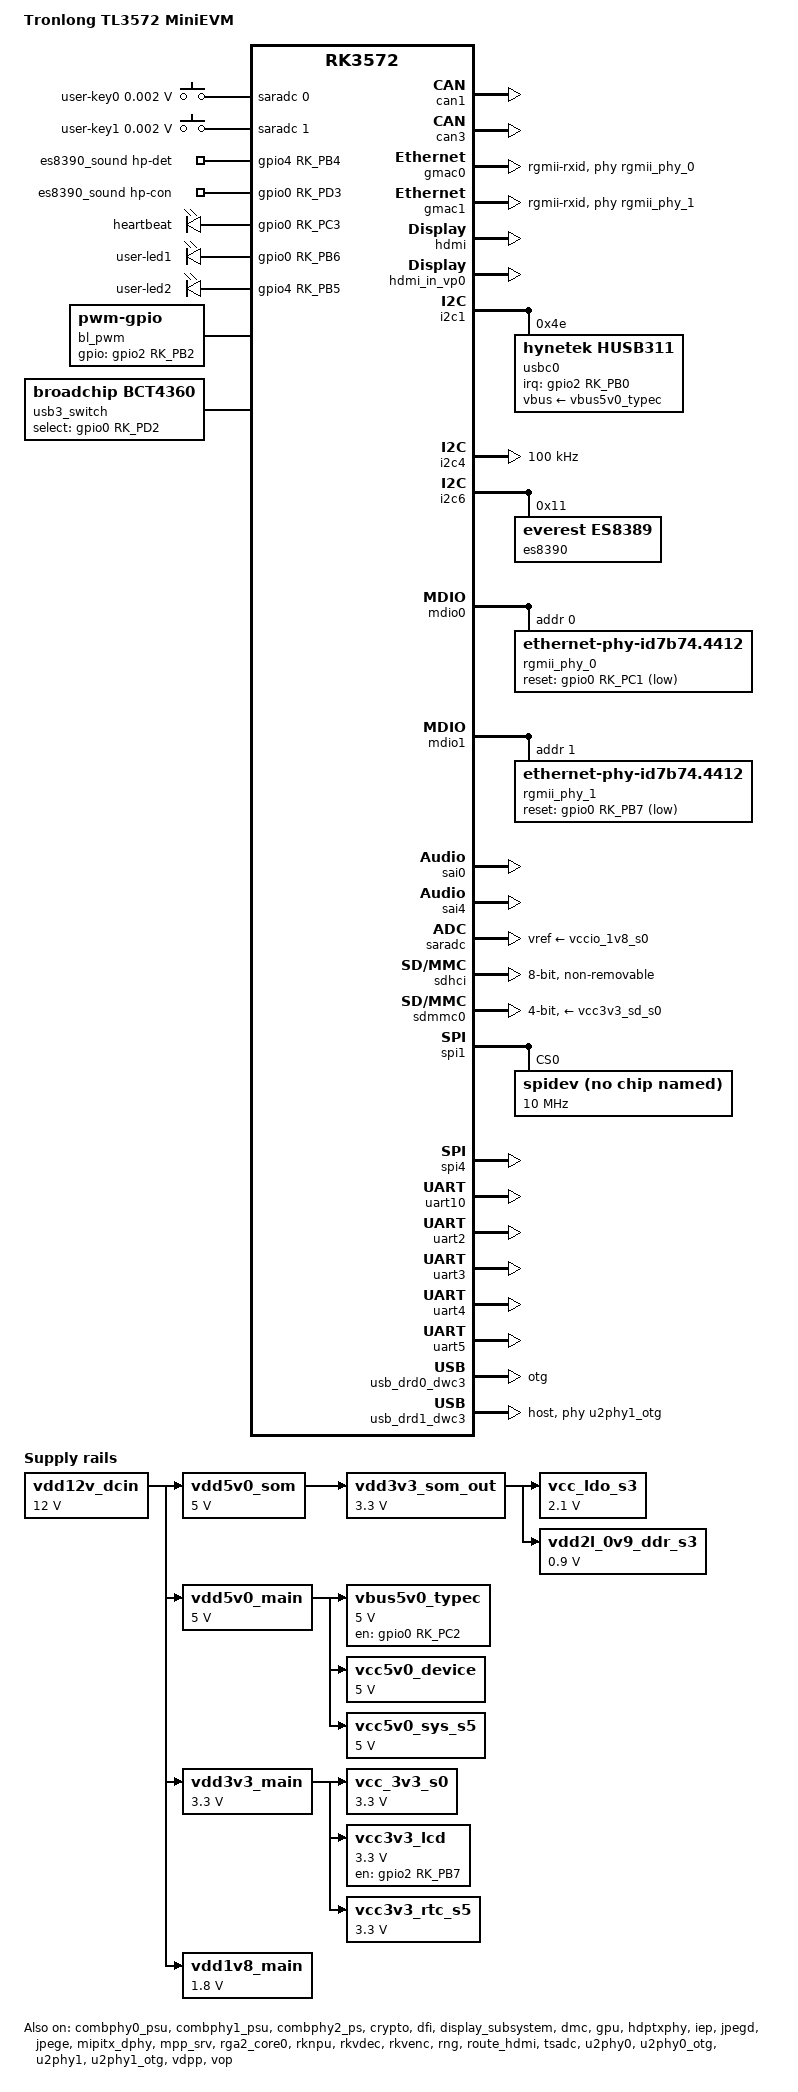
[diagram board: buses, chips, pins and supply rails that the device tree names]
// SPDX-License-Identifier: (GPL-2.0+ OR MIT)
/*
 * Copyright (c) 2025 Rockchip Electronics Co., Ltd.
 * Copyright (c) 2026 unifreq <flippy@sina.com>
 *
 * TL3572-MiniEVM 设备树
 *
 * 说明：
 *  1. 本文件以 rk3572-evb1-v10.dtsi 为模版，并按 TL3572-MiniEVM 硬件裁剪；
 *  2. rk3572-evb.dtsi、rk3572-rk806.dtsi、rk3572-evb-input-keymap.dtsi、
 *     rk3572-evb1-v10.dtsi 以及 rk3572-linux.dtsi 的内容均已直接内联（不使用 #include 方式），
 *     被裁剪掉的内容已直接删除，未使用 /delete-node/；
 *  3. 参考 /tmp/tl3572-minievm.dts 并结合 TL3572-MiniEVM 官方原理图
 *     (TL3572-MiniEVM-A1.0-000-SCH-202609171610.pdf) 增删修改；
 *  4. 整体节点按 ASCII 排序；
 *  5. DSI 屏幕、触摸屏、MIPI Sensor、CIF、ISP 等默认关闭，由 overlay 打开。
 *
 * TL3572-MiniEVM 硬件要点（摘自原理图）：
 *   SOM  : SOM-TL3572-S (RK3572)
 *   PMIC : RK806S-5 @ I2C0 0x23
 *   ETH0  : RGMII (m0)，PHY MAE0621A-Q3I，地址 0，复位 GPIO0_C1
 *   ETH1  : RGMII (m1)，PHY MAE0621A-Q3I，地址 1，复位 GPIO0_B7
 *   USB   : DRD0(Type-C, HUSB311)+USB3.0 HUB(CH634M) / DRD1(USB3.0 Host)
 *   显示  : MIPI DSI (TL070MIPI) + GT911 电容屏 / XPT2046 电阻屏
 *   音频  : ES8390 (ES8389 驱动) @ I2C6 0x11
 *   存储  : eMMC + Micro SD (SDMMC0) + UFS
 *   调试  : UART0 (CH340) 1500000bps
 *   扩展口: EXPORT1(CON13)=PCIe1 + 8 路空闲 GPIO；EXPORT2(CON14)=22 路 GPIO3_x
 *           （详见下方 "EXPORT 扩展口说明"）
 */

/dts-v1/;

#include <dt-bindings/display/drm_mipi_dsi.h>
#include <dt-bindings/display/rockchip_vop.h>
#include <dt-bindings/gpio/gpio.h>
#include <dt-bindings/input/rk-input.h>
#include <dt-bindings/input/rk-ir.h>
#include <dt-bindings/pinctrl/rockchip.h>
#include <dt-bindings/pwm/pwm.h>
#include <dt-bindings/sensor-dev.h>
#include <dt-bindings/usb/pd.h>
#include "rk3572.dtsi"
#include "rk3572-rk806.dtsi"

/*
 * ============================ EXPORT 扩展口说明 ============================
 * 摘自 TL3572-MiniEVM 原理图 EXPORT 页（Sheet 16）：
 *   EXPORT1 = CON13，EXPORT2 = CON14，均为 2x15 30pin（FH254030D-16302）。
 *   EXPORT1 与 PCIe1 共用一个连接器：除 PCIe1 差分对外，另引出 8 路空闲 GPIO。
 *   EXPORT2 为纯 GPIO 扩展口，引出 22 路 GPIO3_x。
 *   IO 电平：绝大多数为 3.3V，仅 EXPORT1 的 GPIO1_D5/D6 为 1.8V。
 *
 * ---------------------------------------------------------------------------
 * EXPORT1 (CON13)：
 *   1 =VDD_5V_IO    2 =VDD_3V3_IO    28=RK806S_PWRON(电源按键)
 *   GND: 3 4 5 7 10 13 16 21 22 24 26 29 30
 *   PCIe1: 6 =REFCLKN  8 =REFCLKP  12=TXN  14=TXP  18=RXN  20=RXP
 *   空闲 GPIO:
 *     9 =GPIO1_D5 1V8   11=GPIO1_D6 1V8   15=GPIO2_B5 3V3   17=GPIO2_B4 3V3
 *     19=GPIO2_B6 3V3   23=GPIO2_D0 3V3   25=GPIO4_B7 3V3   27=GPIO4_B6 3V3
 *
 * ---------------------------------------------------------------------------
 * EXPORT2 (CON14)：
 *   1 =VDD_5V_IO    2 =VDD_3V3_IO    GND: 3 4 9 20 22 29
 *   空闲 GPIO（全部 3V3）:
 *     5 =GPIO3_D5   7 =GPIO3_D4   11=GPIO3_C5  13=GPIO3_C6  15=GPIO3_C7
 *     17=GPIO3_A7   19=GPIO3_B0   21=GPIO3_B1  23=GPIO3_B3  25=GPIO3_B4
 *     27=GPIO3_B2   6 =GPIO3_A5   8 =GPIO3_A6  10=GPIO3_D3  12=GPIO3_B5
 *     14=GPIO3_D0   16=GPIO3_B7   18=GPIO3_C0  24=GPIO3_B6  26=GPIO3_D6
 *     28=GPIO3_C1   30=GPIO3_C4
 *
 * ---------------------------------------------------------------------------
 * 可组成的完整总线（同组引脚复选功能号 Mx 必须一致；下列均为同 Mx）：
 *   1) PCIe1 (EXPORT1) : 必需；可再任选 1 路空闲 GPIO 作卡的 PERST#。
 *   2) I2C3  (EXPORT2) : SDA=5(GPIO3_D5/M2)   SCL=7(GPIO3_D4/M2)
 *   3) I2C8  (EXPORT2) : SCL=23(GPIO3_B3/M3)  SDA=27(GPIO3_B2/M3)
 *   4) I2C5  (EXPORT2) : SDA=28(GPIO3_C1/M3)  SCL=30(GPIO3_C4/M3)
 *   5) UART4 (EXPORT2) : TX=30(GPIO3_C4/M0)   RX=28(GPIO3_C1/M0)
 *   6) UART8 (EXPORT2) : TX=13  RX=11  RTS=15  CTS=14        (均 M0)
 *   7) UART10(EXPORT2) : TX=21  RX=19  RTS=17  CTS=8         (均 M0)
 *   8) UART3 (EXPORT2) : TX=23  RX=27  RTS=25  CTS=12        (均 M1)
 *   9) UART2 (EXPORT1) : TX=15(GPIO2_B5/M1)  RX=17(GPIO2_B4/M1)  RTS=19(GPIO2_B6/M1)
 *  10) SPI1  (EXPORT2) : CLK=15 MOSI=13 MISO=11 CS0=14       (均 M2)
 *  11) SPI3  (EXPORT2) : CLK=7  MOSI=26 MISO=5  CS0=24 CS1=10 (均 M1)
 *  12) CAN0  (EXPORT2) : TX=30(GPIO3_C4/M3)  RX=28(GPIO3_C1/M3)
 *  13) CAN2  (EXPORT2) : TX=18(GPIO3_C0/M2)  RX=16(GPIO3_B7/M2)
 *  14) CAN1  (EXPORT1) : TX=27(GPIO4_B6/M1)  RX=25(GPIO4_B7/M1)
 *  15) CAN3  (EXPORT1) : TX=9 (GPIO1_D5/M0)  RX=11(GPIO1_D6/M0)
 *  16) PDM   (EXPORT2) : CLK0=21 CLK1=17 SDI0=23 SDI1=27 SDI2=8 SDI3=6 (均 M4)
 *  17) SAI1  (EXPORT1/2): SDO0=15(EXP1/M0) SDO1=19(EXP1/M0) SDI2=5(EXP2/M1)
 *                          SDI1=7(EXP2/M1) SDI3=26(EXP2/M1) SDI0=16(EXP2/M1)
 *  18) SPDIF (EXPORT1/2): TX0=9(EXP1/M1) 或 12(EXP2/M3)
 *                          TX1=11(EXP1/M1) 或 24(EXP2/M3)  RX0=25(EXP2/M3)
 *
 * 取舍提示：同一物理引脚任一时刻只能选一种功能；EXPORT2 的 pin5/7/11/13/14/15、
 *   pin19/21/23/27、pin28/30 等被多个组合复用，实际使用时需按需求二选一/多选一。
 *   上述总线仅列出引脚具备的复用能力，如需启用还应在对应控制器节点补 pinctrl 与 status。
 *
 * ------------------------ 默认组合（本 base DTS 已设为 okay） ------------------------
 * 按“最常用/最有价值”原则取舍，base 默认启用如下组合（互不冲突，已配置 pinmux）：
 *   EXPORT1 : PCIe1 + CAN1(pin25/27) + CAN3(pin9/11) + UART2(pin15/17)
 *   EXPORT2 : UART5(pin5/7) + SPI1(pin11/13/14/15) + UART10(pin19/21)
 *             + UART3(pin23/27) + UART4(pin28/30) + I2C4(pin16/18)
 *
 * ------------------------ 互斥关系与替代 overlay ------------------------
 * 每个引脚组只能“默认”或“替代”二选一；替代组合请叠加对应 .dtbo（会自动 disable 冲突项）：
 *   (a) pin5/7        : 默认 UART5   → 替代 i2c3 / spi3
 *   (b) pin11/13/14/15: 默认 SPI1   → 替代 uart8
 *   (c) pin19/21      : 默认 UART10  → 替代 pdm(clk0/clk1)
 *   (d) pin23/27      : 默认 UART3   → 替代 i2c8 / pdm(sdi0/sdi1)
 *   (e) pin28/30      : 默认 UART4   → 替代 i2c5 / can0
 *   (f) pin16/18      : 默认 I2C4    → 替代 can2 / sai1
 *   (g) EXP1 pin9/11  : 默认 CAN3   → 替代 spdif(tx0/tx1)
 *   (h) EXP1 pin15/17/19: 默认 UART2 → 替代 sai1(sdo0/sdo1)
 * 对应 overlay（overlay/ 目录，逐个叠加）：
 *   rk3572-tl3572-minievm-export2-i2c3.dtbo    rk3572-tl3572-minievm-export2-spi3.dtbo
 *   rk3572-tl3572-minievm-export2-uart8.dtbo   rk3572-tl3572-minievm-export2-pdm.dtbo
 *   rk3572-tl3572-minievm-export2-i2c8.dtbo    rk3572-tl3572-minievm-export2-i2c5.dtbo
 *   rk3572-tl3572-minievm-export2-can0.dtbo    rk3572-tl3572-minievm-export2-can2.dtbo
 *   rk3572-tl3572-minievm-export1-spdif.dtbo   rk3572-tl3572-minievm-export1-sai1.dtbo
 *   注意：占用同一引脚组的替代 overlay 不可同时叠加（如 i2c3 与 spi3 都占 pin5/7）。
 * =========================================================================
 */

/ {
	model = "Tronlong TL3572 MiniEVM";
	compatible = "tronlong,tl3572-minievm", "rockchip,rk3572-evb1-v10", "rockchip,rk3572";

	/* SARADC_IN0：BOOT/Maskrom 按键（原理图 KEY2） */
	adc-keys1 {
		compatible = "adc-keys";
		io-channels = <&saradc 0>;
		io-channel-names = "buttons";
		keyup-threshold-microvolt = <1800000>;
		poll-interval = <100>;

		user_key0 {
			label = "user-key0";
			linux,code = <KEY_PROG3>;
			press-threshold-microvolt = <1750>;
		};
	};

	/* SARADC_IN1：RECOVERY/USER_KEY1 按键（原理图 KEY4） */
	adc-keys2 {
		compatible = "adc-keys";
		io-channels = <&saradc 1>;
		io-channel-names = "buttons";
		keyup-threshold-microvolt = <1800000>;
		poll-interval = <100>;

		user_key1 {
			label = "user-key1";
			linux,code = <KEY_PROG1>;
			press-threshold-microvolt = <1750>;
		};
	};

	aliases {
		mmc0 = &sdhci;
		mmc1 = &sdmmc0;
	};

	backlight: backlight {
		compatible = "pwm-backlight";
		pwms = <&pwm1_6ch_5 0 25000 0>;
		brightness-levels = <
			  0  20  20  21  21  22  22  23
			 23  24  24  25  25  26  26  27
			 27  28  28  29  29  30  30  31
			 31  32  32  33  33  34  34  35
			 35  36  36  37  37  38  38  39
			 40  41  42  43  44  45  46  47
			 48  49  50  51  52  53  54  55
			 56  57  58  59  60  61  62  63
			 64  65  66  67  68  69  70  71
			 72  73  74  75  76  77  78  79
			 80  81  82  83  84  85  86  87
			 88  89  90  91  92  93  94  95
			 96  97  98  99 100 101 102 103
			104 105 106 107 108 109 110 111
			112 113 114 115 116 117 118 119
			120 121 122 123 124 125 126 127
			128 129 130 131 132 133 134 135
			136 137 138 139 140 141 142 143
			144 145 146 147 148 149 150 151
			152 153 154 155 156 157 158 159
			160 161 162 163 164 165 166 167
			168 169 170 171 172 173 174 175
			176 177 178 179 180 181 182 183
			184 185 186 187 188 189 190 191
			192 193 194 195 196 197 198 199
			200 201 202 203 204 205 206 207
			208 209 210 211 212 213 214 215
			216 217 218 219 220 221 222 223
			224 225 226 227 228 229 230 231
			232 233 234 235 236 237 238 239
			240 241 242 243 244 245 246 247
			248 249 250 251 252 253 254 255
		>;
		default-brightness-level = <200>;
	};

	/* ES8390 音频声卡（使用 ES8389 驱动），CPU DAI 为 SAI0_M1 */
	es8390_sound: es8390-sound {
		status = "okay";
		compatible = "rockchip,multicodecs-card";
		rockchip,card-name = "rockchip-es8390";
		rockchip,format = "i2s";
		rockchip,mclk-fs = <256>;
		rockchip,cpu = <&sai0>;
		rockchip,codec = <&es8390>;
		hp-det-gpio = <&gpio4 RK_PB4 GPIO_ACTIVE_HIGH>;	/* GPIO4_B4: HP_DET_L */
		hp-con-gpio = <&gpio0 RK_PD3 GPIO_ACTIVE_HIGH>;	/* GPIO0_D3: PHONE_CTL */
		rockchip,pre-power-on-delay-ms = <30>;
		rockchip,post-power-down-delay-ms = <40>;
		pinctrl-names = "default";
		pinctrl-0 = <&hp_det>;
		rockchip,audio-routing =
			"Headphone", "HPOL",
			"Headphone", "HPOR";
	};

	/* 调试串口使用 UART0，波特率 1500000 (官方固件采用115200bps（原理图 CH340） */
	fiq-debugger {
		compatible = "rockchip,fiq-debugger";
		rockchip,serial-id = <0>;
		rockchip,wake-irq = <0>;
		/* If enable uart uses irq instead of fiq */
		rockchip,irq-mode-enable = <1>;
		rockchip,baudrate = <1500000>;	/* Only 115200 and 1500000 */
		interrupts = <GIC_SPI 340 IRQ_TYPE_LEVEL_LOW>;
		pinctrl-names = "default";
		pinctrl-0 = <&uart0m0_xfer_pins>;
		status = "okay";
	};

	firmware {
		optee: optee {
			compatible = "linaro,optee-tz";
			method = "smc";
		};
	};

	hdmi_sound: hdmi-sound {
		compatible = "rockchip,hdmi";
		rockchip,mclk-fs = <128>;
		rockchip,card-name = "rockchip-hdmi";
		rockchip,cpu = <&sai4>;
		rockchip,codec = <&hdmi>;
		rockchip,jack-det;
	};

	/*
	 * LED：
	 *  - som_led  : 心跳灯，挂载 SOM 上 (GPIO0_C3)
	 *  - user_led1: 用户灯 (GPIO0_B6 / LED1)
	 *  - user_led2: 用户灯 (GPIO4_B5 / LED2)
	 */
	leds: leds {
		compatible = "gpio-leds";
		status = "okay";
		pinctrl-0 = <&som_led>;

		som_led {
			label = "heartbeat";
			gpios = <&gpio0 RK_PC3 GPIO_ACTIVE_HIGH>;
			linux,default-trigger = "heartbeat";
			default-state = "off";
		};
		user_led1 {
			label = "user-led1";
			gpios = <&gpio0 RK_PB6 GPIO_ACTIVE_HIGH>;
			linux,default-trigger = "default-on";
		};
		user_led2 {
			label = "user-led2";
			gpios = <&gpio4 RK_PB5 GPIO_ACTIVE_HIGH>;
			linux,default-trigger = "default-on";
		};
	};

	/* GPIO2_B2 软件 PWM 背光（TL070MIPI LCD） */
	bl_pwm: pwm@0 {
		compatible = "pwm-gpio";
		#pwm-cells = <3>;
		gpios = <&gpio2 RK_PB2 GPIO_ACTIVE_HIGH>;
		status = "okay";
	};

	/*
	 * Type-C SBU 切换开关 CH482D：
	 * 选择脚 GPIO0_D2 (USB_DRD0_SWITCH)
	 */
	usb3_switch: usb3-switch {
		compatible = "broadchip,bct4360", "gpio-sbu-mux";
		select-gpios = <&gpio0 RK_PD2 GPIO_ACTIVE_HIGH>;
		orientation-switch;
	};

	vdd12v_dcin: regulator-vdd12v-dcin {
		compatible = "regulator-fixed";
		regulator-always-on;
		regulator-boot-on;
		regulator-min-microvolt = <12000000>;
		regulator-max-microvolt = <12000000>;
		regulator-name = "vdd12v_dcin";
	};

	/* to: tl3572-som core board */
	vdd5v0_som: regulator-vdd5v0-som {
		compatible = "regulator-fixed";
		regulator-always-on;
		regulator-boot-on;
		regulator-min-microvolt = <5000000>;
		regulator-max-microvolt = <5000000>;
		regulator-name = "vdd5v0_som";
		vin-supply = <&vdd12v_dcin>;
	};

	/* vdd3v3 som output to mainboard */
	vdd3v3_som_out: regulator-vdd3v3-som-out {
		compatible = "regulator-fixed";
		regulator-always-on;
		regulator-boot-on;
		regulator-min-microvolt = <3300000>;
		regulator-max-microvolt = <3300000>;
		regulator-name = "vdd3v3_som_out";
		vin-supply = <&vdd5v0_som>;
	};

	/* to: tl3572-minievm main board 5v0
	 * enable: vdd3v3_som_out
	 */
	vdd5v0_main: regulator-vdd5v0-main {
		compatible = "regulator-fixed";
		regulator-always-on;
		regulator-boot-on;
		regulator-min-microvolt = <5000000>;
		regulator-max-microvolt = <5000000>;
		regulator-name = "vdd5v0_main";
		vin-supply = <&vdd12v_dcin>;
	};

	/* to: tl3572-minievm main board 3v3
	 * enable: vdd3v3_som_out
	 */
	vdd3v3_main: regulator-vdd3v3-main {
		compatible = "regulator-fixed";
		regulator-always-on;
		regulator-boot-on;
		regulator-min-microvolt = <3300000>;
		regulator-max-microvolt = <3300000>;
		regulator-name = "vdd3v3_main";
		vin-supply = <&vdd12v_dcin>;
	};

	/* to: tl3572-minievm main board 1v8
	 * enable: vdd3v3_som_out
	 */
	vdd1v8_main: regulator-vdd1v8-main {
		compatible = "regulator-fixed";
		regulator-always-on;
		regulator-boot-on;
		regulator-min-microvolt = <1800000>;
		regulator-max-microvolt = <1800000>;
		regulator-name = "vdd1v8_main";
		vin-supply = <&vdd12v_dcin>;
	};

	/* Type-C VBUS 5V：由 GPIO0_C2 (USB_DRD0_PWREN) 使能 */
	vbus5v0_typec: vbus5v0-typec {
		compatible = "regulator-fixed";
		regulator-name = "vbus5v0_typec";
		regulator-min-microvolt = <5000000>;
		regulator-max-microvolt = <5000000>;
		enable-active-high;
		gpio = <&gpio0 RK_PC2 GPIO_ACTIVE_HIGH>;
		vin-supply = <&vdd5v0_main>;
	};

	vcc_3v3_s0: vcc-3v3-s0 {
		compatible = "regulator-fixed";
		regulator-name = "vcc_3v3_s0";
		regulator-boot-on;
		regulator-always-on;
		regulator-min-microvolt = <3300000>;
		regulator-max-microvolt = <3300000>;
		vin-supply = <&vdd3v3_main>;
	};

	vcc_ldo_s3: vcc-ldo-s3 {
		compatible = "regulator-fixed";
		regulator-name = "vcc_ldo_s3";
		regulator-boot-on;
		regulator-always-on;
		regulator-min-microvolt = <2100000>;
		regulator-max-microvolt = <2100000>;
		vin-supply = <&vdd3v3_som_out>;
	};

	/* LCD 3V3：使能脚为 GPIO2_B7 (BL_EN) */
	vcc3v3_lcd: vcc3v3-lcd {
		compatible = "regulator-fixed";
		regulator-name = "vcc3v3_lcd";
		regulator-boot-on;
		enable-active-high;
		regulator-min-microvolt = <3300000>;
		regulator-max-microvolt = <3300000>;
		gpio = <&gpio2 RK_PB7 GPIO_ACTIVE_HIGH>;
		vin-supply = <&vdd3v3_main>;
	};

	vcc3v3_rtc_s5: vcc3v3-rtc-s5 {
		compatible = "regulator-fixed";
		regulator-name = "vcc3v3_rtc_s5";
		regulator-boot-on;
		regulator-always-on;
		regulator-min-microvolt = <3300000>;
		regulator-max-microvolt = <3300000>;
		vin-supply = <&vdd3v3_main>;
	};

	vcc5v0_device: vcc5v0-device {
		compatible = "regulator-fixed";
		regulator-name = "vcc5v0_device";
		regulator-always-on;
		regulator-boot-on;
		regulator-min-microvolt = <5000000>;
		regulator-max-microvolt = <5000000>;
		vin-supply = <&vdd5v0_main>;
	};

	vcc5v0_sys_s5: vcc5v0-sys {
		compatible = "regulator-fixed";
		regulator-name = "vcc5v0_sys_s5";
		regulator-always-on;
		regulator-boot-on;
		regulator-min-microvolt = <5000000>;
		regulator-max-microvolt = <5000000>;
		vin-supply = <&vdd5v0_main>;
	};

	vdd2l_0v9_ddr_s3: vdd2l-0v9-ddr-s3 {
		compatible = "regulator-fixed";
		regulator-name = "vdd2l_0v9_ddr_s3";
		regulator-boot-on;
		regulator-always-on;
		regulator-min-microvolt = <900000>;
		regulator-max-microvolt = <900000>;
		vin-supply = <&vdd3v3_som_out>;
	};
};

/* DSI 屏幕背光，默认关闭，由 overlay (rk3572-tl3572-minievm-dsi800x1280-touch-*.dtso) 打开 */
&backlight {
	pwms = <&bl_pwm 0 25000 0>;
	pinctrl-names = "default";
	pinctrl-0 = <&bl_en_pins>;
	status = "disabled";
};

&can1 {
	pinctrl-names = "default";
	pinctrl-0 = <&can1m1_pins>;
	status = "okay";
};

&can3 {
	pinctrl-names = "default";
	pinctrl-0 = <&can3m0_pins>;
	status = "okay";
};

&combphy0_psu {
	status = "okay";
};

&combphy1_psu {
	status = "okay";
};

&combphy2_ps {
	status = "okay";
};

&cpu_b0 {
	cpu-supply = <&vdd_cpu_big_s0>;
};

&cpu_l0 {
	cpu-supply = <&vdd_cpu_lit_s0>;
};

&cpu_l4 {
	cpu-supply = <&vdd_cpu_lit_s0>;
};

&crypto {
	status = "okay";
};

/* CSI#1：csi2_dphy0 (DPHY0 full mode, 4-lane) —— OV13855 @ CSI1
 * 默认关闭，由 overlay (rk3572-tl3572-minievm-camera-csi1.dtso) 打开
 */
&csi2_dphy0 {
	status = "disabled";
	ports {
		#address-cells = <1>;
		#size-cells = <0>;

		port@0 {
			reg = <0>;
			#address-cells = <1>;
			#size-cells = <0>;

			mipi_in_ov13855_csi1: endpoint@1 {
				reg = <1>;
				remote-endpoint = <&ov13855_csi1_out0>;
				data-lanes = <1 2 3 4>;
			};
		};

		port@1 {
			reg = <1>;
			#address-cells = <1>;
			#size-cells = <0>;

			csidphy0_out: endpoint@0 {
				reg = <0>;
				remote-endpoint = <&mipi0_csi2_input>;
			};
		};
	};
};

&csi2_dphy0_hw {
	status = "disabled";
};

&csi2_dphy1_hw {
	status = "disabled";
};

/* CSI#2：csi2_dphy3 (DPHY1 full mode, 4-lane) —— OV13855 @ CSI2
 * 默认关闭，由 overlay (rk3572-tl3572-minievm-camera-csi2.dtso) 打开
 */
&csi2_dphy3 {
	status = "disabled";
	ports {
		#address-cells = <1>;
		#size-cells = <0>;

		port@0 {
			reg = <0>;
			#address-cells = <1>;
			#size-cells = <0>;

			mipi_in_ov13855_csi2: endpoint@1 {
				reg = <1>;
				remote-endpoint = <&ov13855_csi2_out0>;
				data-lanes = <1 2 3 4>;
			};
		};

		port@1 {
			reg = <1>;
			#address-cells = <1>;
			#size-cells = <0>;

			csidphy3_out: endpoint@0 {
				reg = <0>;
				remote-endpoint = <&mipi2_csi2_input>;
			};
		};
	};
};

&dfi {
	status = "okay";
};

&display_subsystem {
	status = "okay";
	memory-region = <&drm_logo>, <&drm_cubic_lut>;
	memory-region-names = "drm-logo", "drm-cubic-lut";
	devfreq = <&dmc>;
};

&dmc {
	center-supply = <&vdd_ddr_s0>;
	mem-supply = <&vdd_logic_s0>;
	status = "okay";
};

/* MIPI DSI：TL070MIPI (AML070WXBI4006)，4-lane，800x1280
 * 默认关闭，由 overlay (rk3572-tl3572-minievm-dsi800x1280-touch-*.dtso) 打开
 */
&dsi {
	status = "disabled";
	//rockchip,lane-rate = <1000>;

	dsi_panel: panel@0 {
		status = "okay";
		compatible = "simple-panel-dsi";
		reg = <0>;
		backlight = <&backlight>;
		reset-gpios = <&gpio0 RK_PB4 GPIO_ACTIVE_LOW>;	/* GPIO0_B4: MIPI_DSI_RST_L */
		//enable-gpios = <&gpio2 RK_PB7 GPIO_ACTIVE_HIGH>;
		power-supply = <&vcc3v3_lcd>;
		/* Fix "Expected bpc in {6,8} but got: 0" warning */
		bpc = <8>;
		reset-delay-ms = <60>;
		enable-delay-ms = <60>;
		prepare-delay-ms = <60>;
		unprepare-delay-ms = <60>;
		disable-delay-ms = <60>;
		width-mm = <68>;
		height-mm = <121>;
		dsi,flags = <(MIPI_DSI_MODE_VIDEO | MIPI_DSI_MODE_VIDEO_BURST |
			      MIPI_DSI_MODE_LPM | MIPI_DSI_MODE_NO_EOT_PACKET)>;
		dsi,format = <MIPI_DSI_FMT_RGB888>;
		dsi,lanes  = <4>;
		panel-init-sequence = [
			05 1E 01 01
			23 00 02 EE 50
			29 00 03 EA 85 55
			23 00 02 30 00
			23 00 02 31 00
			29 00 03 90 50 15
			23 00 02 24 20
			23 00 02 99 00
			23 00 02 79 00
			23 00 02 95 74
			23 00 02 7A 20
			23 00 02 97 09
			23 00 02 7D 08
			23 00 02 56 83
			23 00 02 EE 60
			23 00 02 30 01
			23 00 02 27 22
			23 00 02 3A 24
			23 00 02 3B 00
			23 00 02 3C 1A
			23 00 02 3D 11
			23 00 02 3E 93
			23 00 02 42 64
			23 00 02 43 64
			23 00 02 44 0B
			23 00 02 46 4E
			23 00 02 8B 90
			23 00 02 8D 45
			23 00 02 91 11
			23 00 02 92 11
			23 00 02 93 9F
			23 00 02 9A 00
			23 00 02 9C 80
			29 00 06 47 0F 24 2C 39 36
			29 00 06 5A 0F 24 2C 39 36
			29 00 06 4C 4A 40 51 31 2F
			29 00 06 51 2D 10 25 1F 30
			29 00 05 56 37 46 5B 7F
			29 00 05 69 37 46 5B 7F
			23 00 02 EE 70
			29 00 05 00 03 07 00 01
			29 00 05 04 08 0C 55 01
			29 00 03 0C 05 3D
			29 00 06 10 05 08 00 01 05
			29 00 06 15 00 15 0D 08 00
			29 00 03 29 05 3D
			29 00 06 60 3C 3C 07 05 17
			29 00 06 65 15 13 11 01 03
			29 00 06 6A 3C 3C 3C 3C 3C
			29 00 06 6F 3C 3C 3C 3C 3C
			29 00 03 74 3C 3C
			29 00 06 80 3C 3C 06 04 16
			29 00 06 85 14 12 10 00 02
			29 00 06 8A 3C 3C 3C 3C 3C
			29 00 06 8F 3C 3C 3C 3C 3C
			29 00 03 94 3C 3C
			29 00 03 EA 00 00
			23 00 02 EE 00
			05 78 01 11
			05 1E 01 29
		];

		panel-exit-sequence = [
			05 00 01 28
			05 00 01 10
		];

		disp_timings0: display-timings {
			native-mode = <&dsi_timing0>;
			dsi_timing0: timing0 {
				clock-frequency = <67200000>;
				hactive = <800>;
				vactive = <1280>;
				hfront-porch = <80>;
				hsync-len = <20>;
				hback-porch = <20>;
				vfront-porch = <15>;
				vsync-len = <6>;
				vback-porch = <8>;
				hsync-active = <0>;
				vsync-active = <0>;
				de-active = <0>;
				pixelclk-active = <1>;
			};
		};

		ports {
			#address-cells = <1>;
			#size-cells = <0>;

			port@0 {
				reg = <0>;
				panel_in_dsi: endpoint {
					remote-endpoint = <&dsi_out_panel>;
				};
			};
		};
	};

	ports {
		#address-cells = <1>;
		#size-cells = <0>;

		port@1 {
			reg = <1>;
			dsi_out_panel: endpoint {
				remote-endpoint = <&panel_in_dsi>;
			};
		};
	};
};

/* DSI 输出接 VP1，默认关闭，由 overlay 打开 */
&dsi_in_vp1 {
	status = "disabled";
};

&gmac0 {
	clock_in_out = "output";

	phy-handle = <&rgmii_phy_0>;
	phy-mode = "rgmii-rxid";

	label = "eth0";

	pinctrl-names = "default";
	pinctrl-0 = <&eth0_miim_pins
		     &eth0_tx_bus2_pins
		     &eth0_rx_bus2_pins
		     &eth0_rgmii_bus_pins
		     &eth0_rgmii_clk_pins>;

	tx_delay = <0x26>;
	/* rx_delay = <0x3f>; */

	status = "okay";
};

&gmac1 {
	clock_in_out = "output";

	phy-handle = <&rgmii_phy_1>;
	phy-mode = "rgmii-rxid";

	label = "eth1";

	pinctrl-names = "default";
	pinctrl-0 = <&eth1m1_miim_pins
		     &eth1m1_tx_bus2_pins
		     &eth1m1_rx_bus2_pins
		     &eth1m1_rgmii_clk_pins
		     &eth1m1_rgmii_bus_pins>;

	tx_delay = <0x25>;
	/* rx_delay = <0x3f>; */

	status = "okay";
};

&gpu {
	mali-supply = <&vdd_gpu_s0>;
	status = "okay";
};

/* HDMI OUT：使能脚 GPIO0_D1 (HDMI_TX_ON_H)，HPD 走 HDMI_TX0 (GPIO4_B1) */
&hdmi {
	enable-gpios = <&gpio0 RK_PD1 GPIO_ACTIVE_HIGH>;
	pinctrl-names = "default";
	pinctrl-0 = <&hdmi_txm0_hpdin_pins
		     &hdmi_txm0_ddc_pins
		     &hdmi_txm0_cec_pins>;
	status = "okay";
};

&hdmi_in_vp0 {
	status = "okay";
};

&hdptxphy {
	status = "okay";
};

/*
 * I2C1(m0)：
 *  - HUSB311 USB PD 控制器 (0x4e)
 *  - OV13855 摄像头 @ CSI1 (J15, 0x10)
 */
&i2c1 {
	status = "okay";
	pinctrl-names = "default";
	pinctrl-0 = <&i2c1m0_xfer_pins>;

	usbc0: husb311@4e {
		compatible = "hynetek,husb311";
		reg = <0x4e>;
		interrupt-parent = <&gpio2>;
		interrupts = <RK_PB0 IRQ_TYPE_LEVEL_LOW>;	/* GPIO2_B0: USB_OTG_INTn */
		pinctrl-names = "default";
		pinctrl-0 = <&usbc0_int>;
		vbus-supply = <&vbus5v0_typec>;
		status = "okay";

		usb_con0: connector {
			compatible = "usb-c-connector";
			label = "USB-C";
			data-role = "dual";
			power-role = "dual";
			try-power-role = "sink";
			op-sink-microwatt = <1000000>;
			orientation-switch = <&usb3_switch &u2phy0>;
			usb-role-switch = <&usb_drd0_dwc3>;

			sink-pdos = <PDO_FIXED(5000, 1000, PDO_FIXED_DATA_SWAP | PDO_FIXED_USB_COMM | PDO_FIXED_EXTPOWER | PDO_FIXED_DUAL_ROLE)>;
			source-pdos = <PDO_FIXED(5000, 3000, PDO_FIXED_DATA_SWAP | PDO_FIXED_USB_COMM | PDO_FIXED_EXTPOWER | PDO_FIXED_DUAL_ROLE)>;
		};
	};

	/* ===== OV13855 on CSI1 (J15)，默认关闭，由 overlay 打开 ===== */
	ov13855_csi1: ov13855-csi1@10 {
		compatible = "ovti,ov13855";
		status = "disabled";
		reg = <0x10>;
		clocks = <&cru REF_CLK0_OUT_PLL>;
		clock-names = "xvclk";
		pinctrl-names = "default";
		pinctrl-0 = <&ref_clk0_clk0_pins &csi1_reset>;
		reset-gpios = <&gpio1 RK_PC2 GPIO_ACTIVE_HIGH>;
		rockchip,camera-module-index = <0>;
		rockchip,camera-module-facing = "back";
		rockchip,camera-module-name = "RK-CMK-8M-2-v1";
		rockchip,camera-module-lens-name = "CK8401";

		port {
			ov13855_csi1_out0: endpoint {
				remote-endpoint = <&mipi_in_ov13855_csi1>;
				data-lanes = <1 2 3 4>;
			};
		};
	};
};

/* I2C4_M3：引出到 EXPORT2 (SDA=GPIO3_B7 / SCL=GPIO3_C0) */
&i2c4 {
	pinctrl-names = "default";
	pinctrl-0 = <&i2c4m3_xfer_pins>;
	clock-frequency = <100000>;
	status = "okay";
};

/*
 * I2C6(m0)：
 *  - ES8390 音频 codec (0x11)
 *  - GT911 电容触摸屏 (0x5d)
 *  - OV13855 摄像头 @ CSI2 (J16, 0x10)
 */
&i2c6 {
	status = "okay";
	pinctrl-names = "default";
	pinctrl-0 = <&i2c6m0_xfer_pins>;

	es8390: es8390@11 {
		status = "okay";
		#sound-dai-cells = <0>;
		compatible = "everest,es8389";
		reg = <0x11>;
		clocks = <&mclkout_sai0>;
		clock-names = "mclk";
		assigned-clocks = <&mclkout_sai0>;
		assigned-clock-rates = <12288000>;
		pinctrl-names = "default";
		pinctrl-0 = <&sai0m1_mclk_pins>;
	};

	/* GT911 电容触摸（MIPI LCD），默认关闭，由 overlay 打开 */
	gt911: touchscreen@5d {
		compatible = "goodix,gt911";
		reg = <0x5d>;
		status = "disabled";
		interrupt-parent = <&gpio2>;
		interrupts = <RK_PC4 IRQ_TYPE_EDGE_FALLING>;	/* GPIO2_C4: MIPI_DSI_CAP_TS_nINT */
		pinctrl-names = "default";
		pinctrl-0 = <&gt911_int>;
	};

	/* ===== OV13855 on CSI2 (J16)，默认关闭，由 overlay 打开 ===== */
	ov13855_csi2: ov13855-csi2@10 {
		compatible = "ovti,ov13855";
		status = "disabled";
		reg = <0x10>;
		clocks = <&cru CAM_CLK1_OUT_IOUT>;
		clock-names = "xvclk";
		pinctrl-names = "default";
		pinctrl-0 = <&cam_clk1m0_clk1_pins>;
		reset-gpios = <&gpio2 RK_PB1 GPIO_ACTIVE_HIGH>;
		rockchip,camera-module-index = <1>;
		rockchip,camera-module-facing = "back";
		rockchip,camera-module-name = "RK-CMK-8M-2-v1";
		rockchip,camera-module-lens-name = "CK8401";

		port {
			ov13855_csi2_out0: endpoint {
				remote-endpoint = <&mipi_in_ov13855_csi2>;
				data-lanes = <1 2 3 4>;
			};
		};
	};
};

&iep {
	status = "okay";
};

&iep_mmu {
	status = "okay";
};

&jpeg_mmu {
	status = "okay";
};

&jpegd {
	status = "okay";
};

&jpege {
	status = "okay";
};

/* 调高 littlecore 温度保护门限 */
&littlecore_thermal {
	trips {
		threshold: trip-point-0 {
			temperature = <115000>;
			hysteresis = <2000>;
			type = "passive";
		};

		target: trip-point-1 {
			temperature = <115000>;
			hysteresis = <2000>;
			type = "passive";
		};

		littlecore_crit: littlecore-crit {
			/* millicelsius */
			temperature = <115000>;
			/* millicelsius */
			hysteresis = <2000>;
			type = "critical";
		};
	};
};

&mdio0 {
	rgmii_phy_0: phy@0 {
		/* MaxIO MAE0621A/B-Q3C(I) Gigabit Ethernet */
		compatible = "ethernet-phy-id7b74.4412";
		reg = <0x0>;
		clocks = <&cru REFCLKO25M_GMAC0_OUT>;

		/* LED1: Yellow */
		maxio,led1-triggers = "activity";
		/* LED2: Green */
		maxio,led2-triggers = "link-10", "link-100", "link-1000";

		reset-assert-us = <20000>;
		reset-deassert-us = <100000>;
		reset-gpios = <&gpio0 RK_PC1 GPIO_ACTIVE_LOW>;
	};
};

&mdio1 {
	rgmii_phy_1: phy@1 {
		/* MaxIO MAE0621A/B-Q3C(I) Gigabit Ethernet */
		compatible = "ethernet-phy-id7b74.4412";
		reg = <0x1>;
		clocks = <&cru REFCLKO25M_GMAC1_OUT>;

		/* LED1: Yellow */
		maxio,led1-triggers = "activity";
		/* LED2: Green */
		maxio,led2-triggers = "link-10", "link-100", "link-1000";

		reset-assert-us = <20000>;
		reset-deassert-us = <100000>;
		reset-gpios = <&gpio0 RK_PB7 GPIO_ACTIVE_LOW>;
	};
};

/* MIPI CSI2 */
&mipi0_csi2 {
	status = "disabled";
	ports {
		#address-cells = <1>;
		#size-cells = <0>;

		port@0 {
			reg = <0>;
			#address-cells = <1>;
			#size-cells = <0>;

			mipi0_csi2_input: endpoint@1 {
				reg = <1>;
				remote-endpoint = <&csidphy0_out>;
			};
		};

		port@1 {
			reg = <1>;
			#address-cells = <1>;
			#size-cells = <0>;

			mipi0_csi2_output: endpoint@0 {
				reg = <0>;
				remote-endpoint = <&cif_mipi_in0>;
			};
		};
	};
};

&mipi2_csi2 {
	status = "disabled";
	ports {
		#address-cells = <1>;
		#size-cells = <0>;

		port@0 {
			reg = <0>;
			#address-cells = <1>;
			#size-cells = <0>;

			mipi2_csi2_input: endpoint@1 {
				reg = <1>;
				remote-endpoint = <&csidphy3_out>;
			};
		};

		port@1 {
			reg = <1>;
			#address-cells = <1>;
			#size-cells = <0>;

			mipi2_csi2_output: endpoint@0 {
				reg = <0>;
				remote-endpoint = <&cif_mipi3_in0>;
			};
		};
	};
};

&mipitx_dphy {
	status = "okay";
};

&mpp_srv {
	status = "okay";
};

/*
 * PCIe1：EXPORT1 导出（PCIE1_REFCLK + PCIE1_TX/RX 差分对），使能供外接 PCIe 设备使用。
 * PCIe1 复位（PERST#）引脚说明：
 * 官方原理图未定义 PCIe1 专用复位信号，EXPORT1/EXPORT2 也未引出 PERST#。
 * 若需对 EXPORT1 外接的 PCIe 卡做硬件复位，可在下列空闲 GPIO 中任选一个飞线到卡的
 * PERST#（低有效），再于本节点补 reset-gpios = <&gpioX RK_PYn GPIO_ACTIVE_LOW>。
 *
 * EXPORT1(CON13, 30pin) 可作 PERST# 的 GPIO —— 注意它们同时是 EXPORT1 的复用引脚，
 * 本 base 的“默认组合”已占用其中 7 个（见文件头 EXPORT 说明），要用须先关闭对应总线：
 *   pin 9  = GPIO1_D5 (AR18) 1V8  ← 默认 CAN3_TX    （已占用）
 *   pin 11 = GPIO1_D6 (1AF7) 1V8  ← 默认 CAN3_RX    （已占用）
 *   pin 15 = GPIO2_B5 (B4)   3V3  ← 默认 UART2_TX   （已占用）
 *   pin 17 = GPIO2_B4 (1B2)  3V3  ← 默认 UART2_RX   （已占用）
 *   pin 19 = GPIO2_B6 (1D3)  3V3  ← 默认 UART2_RTS  （已占用）
 *   pin 25 = GPIO4_B7 (AN32) 3V3  ← 默认 CAN1_RX    （已占用）
 *   pin 27 = GPIO4_B6 (AP33) 3V3  ← 默认 CAN1_TX    （已占用）
 *   ★ pin 23 = GPIO2_D0 (A8) 3V3  ← 默认空闲，推荐作 PERST# 首选（3V3、无需改总线）
 *   注：叠加 export1-spdif.dtbo 会再占用 pin9/11；export1-sai1.dtbo 会再占用 pin15/19。
 *   EXPORT1 其余引脚：1=VDD_5V_IO, 2=VDD_3V3_IO, 28=RK806S_PWRON,
 *   6/8=PCIE1_REFCLK, 12/14=PCIE1_TX, 18/20=PCIE1_RX, 其余为 GND。
 *
 * EXPORT2(CON14, 30pin) 全部为通用 GPIO（3V3），可作 PERST# 备选：
 *   默认组合已占用 pin 5/7/11/13/14/15/16/18/19/21/23/27/28/30；
 *   默认仍空闲、可直接作 PERST# 的引脚：
 *     pin 6 =GPIO3_A5  8 =GPIO3_A6  10=GPIO3_D3  12=GPIO3_B5
 *     pin 17=GPIO3_A7  24=GPIO3_B6  25=GPIO3_B4  26=GPIO3_D6
 *   （叠加替代 overlay 后占用会变化，详见文件头 EXPORT 说明与各 overlay。）
 *   EXPORT2 其余引脚：1=VDD_5V_IO, 2=VDD_3V3_IO, 3/4/9/20/22/29=GND。
 *
 * 电平：标准 PCIe 卡 PERST# 为 3.3V 低有效，优先选 3V3 域 GPIO；
 *   EXPORT1 的 pin9/pin11(GPIO1_D5/D6) 属 1V8 域，驱动 3.3V PERST# 需加电平转换。
 *
 * SoC 端 pcie1 已含 CRU 内部复位（SRST_RESETN_PCIE1_POWER_UP / SRST_PRESETN_PCIE1），
 * 无外部 PERST 亦可正常枚举，故默认不添加 reset-gpios。
 */
&pcie1 {
	rockchip,skip-scan-in-resume;
	status = "disabled";
};

&pinctrl {
	pinctrl-names = "default";

	backlight_pins {
		bl_en_pins: bl-en-pins {
			rockchip,pins = <2 RK_PB7 RK_FUNC_GPIO &pcfg_pull_none>;
		};
	};

	csi_resetpins {
		csi1_reset: csi1-reset {
			rockchip,pins = <1 RK_PC2 RK_FUNC_GPIO &pcfg_pull_none>;
		};

		csi2_reset: csi2-reset {
			rockchip,pins = <2 RK_PB1 RK_FUNC_GPIO &pcfg_pull_none>;
		};
	};

	headphone {
		hp_con: hp-con {
			rockchip,pins = <0 RK_PD3 RK_FUNC_GPIO &pcfg_pull_none>;
		};

		hp_det: hp-det {
			rockchip,pins = <4 RK_PB4 RK_FUNC_GPIO &pcfg_pull_none>;
		};
	};

	leds {
		som_led: som-led {
			rockchip,pins = <0 RK_PC3 RK_FUNC_GPIO &pcfg_pull_none>;
		};

		user_led1: user-led1 {
			rockchip,pins = <0 RK_PB6 RK_FUNC_GPIO &pcfg_pull_none>;
		};

		user_led2: user-led2 {
			rockchip,pins = <4 RK_PB5 RK_FUNC_GPIO &pcfg_pull_none>;
		};
	};

	touch {
		gt911_int: gt911-int {
			rockchip,pins = <2 RK_PC4 RK_FUNC_GPIO &pcfg_pull_none>;
		};
	};

	usb {
		usbc0_int: usbc0-int {
			rockchip,pins = <2 RK_PB0 RK_FUNC_GPIO &pcfg_pull_up>;
		};
	};
};

&reserved_memory {
	/* CMA: 256MB */
	cma: cma {
		compatible = "shared-dma-pool";
		reusable;
		size = <0x0 (256 * 0x100000)>;
		linux,cma-default;
	};

	drm_logo: drm-logo@0 {
		compatible = "rockchip,drm-logo";
		reg = <0x0 0x0 0x0 0x0>;
	};

	drm_cubic_lut: drm-cubic-lut@0 {
		compatible = "rockchip,drm-cubic-lut";
		reg = <0x0 0x0 0x0 0x0>;
	};

	ramoops: ramoops@40110000 {
		compatible = "ramoops";
		/* 0x40110000 to 0x401f0000 is for ramoops */
		reg = <0x0 0x40110000 0x0 0xe0000>;
		boot-log-size = <0x8000>;	/* do not change */
		boot-log-count = <0x1>;		/* do not change */
		console-size = <0x80000>;
		pmsg-size = <0x30000>;
		ftrace-size = <0x00000>;
		record-size = <0x14000>;
	};
};

&rga2_core0 {
	status = "okay";
};

&rga2_core0_mmu {
	status = "okay";
};

/* CIF：默认关闭，由 overlay (rk3572-tl3572-minievm-camera-csi1/csi2.dtso) 打开 */
&rkcif {
	status = "disabled";
};

&rkcif_mipi_lvds {
	status = "disabled";
	port {
		cif_mipi_in0: endpoint {
			remote-endpoint = <&mipi0_csi2_output>;
		};
	};
};

&rkcif_mipi_lvds2 {
	status = "disabled";
	port {
		cif_mipi3_in0: endpoint {
			remote-endpoint = <&mipi2_csi2_output>;
		};
	};
};

&rkcif_mipi_lvds2_sditf {
	status = "disabled";
	port {
		mipi_lvds3_sditf: endpoint {
			remote-endpoint = <&isp_vir0_in1>;
		};
	};
};

&rkcif_mipi_lvds_sditf {
	status = "disabled";
	port {
		mipi_lvds_sditf: endpoint {
			remote-endpoint = <&isp_vir0_in0>;
		};
	};
};

&rkcif_mmu {
	status = "disabled";
};

/* ISP：默认关闭，由 overlay (rk3572-tl3572-minievm-camera-csi1/csi2.dtso) 打开 */
&rkisp {
	status = "disabled";
	isp-supply = <&vdd_logic_s0>;
};

&rkisp_mmu {
	status = "disabled";
};

&rkisp_vir0 {
	status = "disabled";
	port {
		#address-cells = <1>;
		#size-cells = <0>;

		isp_vir0_in0: endpoint@0 {
			reg = <0>;
			remote-endpoint = <&mipi_lvds_sditf>;
		};

		isp_vir0_in1: endpoint@1 {
			reg = <1>;
			remote-endpoint = <&mipi_lvds3_sditf>;
		};
	};
};

&rkisp_vir0_sditf {
	status = "disabled";
};

&rknpu {
	rknpu-supply = <&vdd_npu_s0>;
	status = "okay";
};

&rknpu_mmu {
	status = "okay";
};

&rkvdec {
	status = "okay";
};

&rkvdec_mmu {
	status = "okay";
};

&rkvenc {
	status = "okay";
};

&rkvenc_mmu {
	status = "okay";
};

&rkvpss {
	status = "disabled";
};

&rkvpss_mmu {
	status = "disabled";
};

&rkvpss_vir0 {
	status = "disabled";
};

&rng {
	status = "okay";
};

&rockchip_suspend {
	status = "okay";
	rockchip,sleep-debug-en = <1>;
	rockchip,sleep-io-ret-config = <
		(0
		| RKPM_VCCIO3_RET_EN
		)
	>;
	rockchip,sleep-pin-config = <(0) (0)>;
};

/* DSI 路由，默认关闭，由 overlay 打开 */
&route_dsi {
	connect = <&vp1_out_dsi>;
	status = "disabled";
};

&route_hdmi {
	status = "okay";
	connect = <&vp0_out_hdmi>;
};

/* SAI0_M1：音频接口 */
&sai0 {
	status = "okay";
	/delete-property/ pinctrl-0;
	pinctrl-names = "default";
	pinctrl-0 = <&sai0m1_lrck_pins
		     &sai0m1_sclk_pins
		     &sai0m1_sdi0_pins
		     &sai0m1_sdo0_pins>;
};

&sai4 {
	status = "okay";
	/delete-property/ pinctrl-names;
	/delete-property/ pinctrl-0;
};

&saradc {
	status = "okay";
	vref-supply = <&vccio_1v8_s0>;
};

&sdhci {
	bus-width = <8>;
	no-sdio;
	no-sd;
	non-removable;
	max-frequency = <200000000>;
	mmc-hs400-1_8v;
	mmc-hs400-enhanced-strobe;
	full-pwr-cycle-in-suspend;
	status = "okay";
};

&sdmmc0 {
	max-frequency = <200000000>;
	no-sdio;
	no-mmc;
	bus-width = <4>;
	cap-mmc-highspeed;
	cap-sd-highspeed;
	disable-wp;
	sd-uhs-sdr104;
	vmmc-supply = <&vcc3v3_sd_s0>;
	vqmmc-supply = <&vccio_sd_s0>;
	status = "okay";
};

/* SPI1_M2：4-wire，引出到 EXPORT2 pin11/13/14/15 */
&spi1 {
	pinctrl-names = "default";
	pinctrl-0 = <&spi1m2_pins &spi1m2_csn0_pins>;
	status = "okay";

	spidev@0 {
		compatible = "rockchip,spidev";
		reg = <0>;
		spi-max-frequency = <10000000>;
		status = "okay";
	};
};

/* SPI4_M1：XPT2046 电阻触摸控制器 */
&spi4 {
	pinctrl-names = "default";
	pinctrl-0 = <&spi4m1_pins &spi4m1_csn1_pins>;
	status = "okay";

	xpt2046: touchscreen@1 {
		compatible = "ti,ads7846";
		reg = <1>;
		status = "disabled";
		spi-max-frequency = <2000000>;
		interrupt-parent = <&gpio3>;
		interrupts = <RK_PA4 IRQ_TYPE_EDGE_FALLING>;
		pendown-gpios = <&gpio3 RK_PA4 GPIO_ACTIVE_LOW>;
		ti,x-min = /bits/ 16 <0>;
		ti,x-max = /bits/ 16 <4095>;
		ti,y-min = /bits/ 16 <0>;
		ti,y-max = /bits/ 16 <4095>;
		ti,x-plate-ohms = /bits/ 16 <100>;
		ti,pressure-max = /bits/ 16 <255>;
		linux,gpio-keymap = <KEY_ESC>;
	};
};

&tsadc {
	status = "okay";
};

&u2phy0 {
	orientation-switch;
	status = "okay";
};

&u2phy0_otg {
	rockchip,typec-vbus-det;
	status = "okay";
};

&u2phy1 {
	status = "okay";
};

/* USB3.0 Host：无 VBUS 供电控制，去掉 phy-supply */
&u2phy1_otg {
	status = "okay";
};

/* UART10_M0（EXPORT2 pin19 RX / pin21 TX） */
&uart10 {
	pinctrl-names = "default";
	pinctrl-0 = <&uart10m0_xfer_pins>;
	status = "okay";
};

/* UART2_M1（EXPORT1 pin15 TX / pin17 RX） */
&uart2 {
	pinctrl-names = "default";
	pinctrl-0 = <&uart2m1_xfer_pins>;
	status = "okay";
};

/* UART3_M1（EXPORT2 pin23 TX / pin27 RX） */
&uart3 {
	pinctrl-names = "default";
	pinctrl-0 = <&uart3m1_xfer_pins>;
	status = "okay";
};

/* UART4_M0：路由到 EXPORT2 pin28(RX)/pin30(TX) */
&uart4 {
	pinctrl-names = "default";
	pinctrl-0 = <&uart4m0_xfer_pins>;
	status = "okay";
};

/* UART5_M0（EXPORT2 pin5 TX / pin7 RX） */
&uart5 {
	pinctrl-names = "default";
	pinctrl-0 = <&uart5m0_xfer_pins>;
	status = "okay";
};

/*
 * UFS：由 SOM-TL3572-S 引出（原理图 SOM CONNECTOR CON0 pin222~231：
 *   UFS_TX_D0/D1、UFS_RX_D0/D1、UFS_REFCLK、UFS_RSTN），
 * 且模组默认从 UFS 启动（P5 BOOT MODE CONFIG 的 Config7：UFS->USB，S1100 ON）。
 * reset 脚 UFS_RSTN = GPIO4_C0
 * MiniEVM板并未引出UFS，故不使能。
 */
&ufs {
	reset-gpios = <&gpio4 RK_PC0 GPIO_ACTIVE_HIGH>;
	status = "disabled";
};

/* USB3.0 DRD0：Type-C，OTG */
&usb_drd0_dwc3 {
	dr_mode = "otg";
	usb-role-switch;
	status = "okay";
};

/* USB3.0 DRD1：USB3.0 Host */
&usb_drd1_dwc3 {
	dr_mode = "host";
	/* USB3.0 SuperSpeed：加入 USB3 PHY */
	phys = <&u2phy1_otg>, <&combphy1_psu PHY_TYPE_USB3>;
	phy-names = "usb2-phy", "usb3-phy";
	snps,dis_u2_susphy_quirk;
	snps,usb2-lpm-disable;
	status = "okay";
};

&vdpp {
	status = "okay";
};

&vop {
	status = "okay";
	rockchip,disable-afbc-mask = <(1 << ROCKCHIP_VOP2_CLUSTER1)>;
};

&vop_mmu {
	status = "okay";
};
